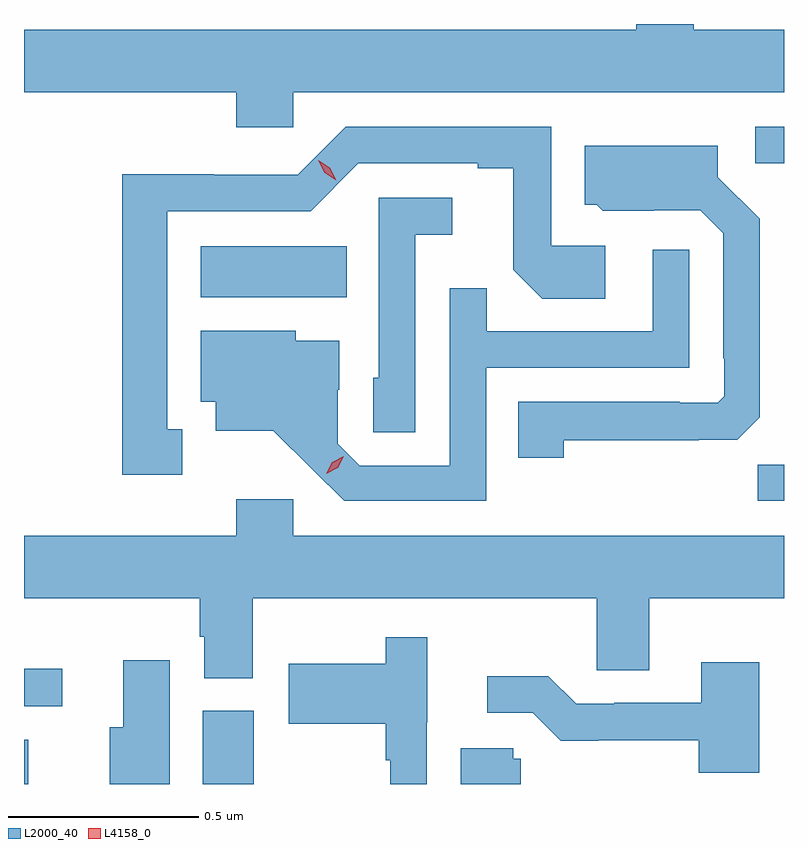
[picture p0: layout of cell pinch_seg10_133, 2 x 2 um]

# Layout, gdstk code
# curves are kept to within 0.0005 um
import gdstk
lib = gdstk.Library(unit=1e-6, precision=1e-09)
def R(c, l, rs):  # rectangles x0, y0, x1, y1
    for r in rs: c.add(gdstk.rectangle(r[:2], r[2:], *l))
def P(c, l, *ps):  # polygons
    for p in ps: c.add(gdstk.Polygon(p, *l))
L2000_40 = (2000, 40)
L4158_0 = (4158, 0)

pinch_seg10_133 = lib.new_cell('pinch_seg10_133')
R(pinch_seg10_133, L2000_40, [(711.887,1281.179,711.898,1281.295), (712.358,1281.179,712.492,1281.372), (711.887,1281.384,711.988,1281.482), (713.818,1281.924,713.887,1282.019), (712.352,1282.46,712.736,1282.594), (713.811,1282.812,713.887,1282.908)])
P(pinch_seg10_133, L2000_40, [(712.596,1283),(713.887,1283),(713.887,1283.164),(713.65,1283.164),(713.65,1283.179),(713.498,1283.179),(713.498,1283.164),(711.887,1283.164),(711.887,1283),(712.445,1283),(712.445,1282.907),(712.596,1282.907)],
  [(712.303,1282.113),(712.264,1282.113),(712.264,1282.686),(712.641,1282.686),(712.767,1282.812),(713.081,1282.812),(713.081,1282.8),(713.175,1282.8),(713.175,1282.532),(713.251,1282.456),(713.416,1282.456),(713.416,1282.596),(713.274,1282.596),(713.274,1282.908),(712.734,1282.908),(712.608,1282.782),(712.386,1282.782),(712.386,1282.784),(712.146,1282.784),(712.146,1281.993),(712.303,1281.993)],
  [(713.307,1282.084),(713.663,1282.084),(713.663,1282.085),(713.764,1282.085),(713.823,1282.144),(713.823,1282.666),(713.713,1282.776),(713.713,1282.858),(713.363,1282.858),(713.363,1282.704),(713.394,1282.704),(713.41,1282.688),(713.544,1282.688),(713.544,1282.689),(713.667,1282.689),(713.727,1282.629),(713.727,1282.3),(713.73,1282.3),(713.73,1282.2),(713.712,1282.182),(713.612,1282.182),(713.612,1282.185),(713.188,1282.185),(713.188,1282.038),(713.307,1282.038)],
  [(712.917,1282.625),(713.014,1282.625),(713.014,1282.722),(712.821,1282.722),(712.821,1282.248),(712.806,1282.248),(712.806,1282.105),(712.917,1282.105)],
  [(713.103,1282.275),(713.637,1282.275),(713.637,1282.585),(713.541,1282.585),(713.541,1282.371),(713.105,1282.371),(713.105,1282.484),(713.007,1282.484),(713.007,1282.017),(712.77,1282.017),(712.713,1282.074),(712.713,1282.216),(712.717,1282.216),(712.717,1282.345),(712.602,1282.345),(712.602,1282.372),(712.352,1282.372),(712.352,1282.185),(712.391,1282.185),(712.391,1282.109),(712.543,1282.109),(712.73,1281.924),(713.103,1281.924)],
  [(712.489,1281.668),(713.394,1281.668),(713.394,1281.478),(713.533,1281.478),(713.533,1281.668),(713.887,1281.668),(713.887,1281.832),(712.596,1281.832),(712.596,1281.928),(712.445,1281.928),(712.445,1281.832),(711.887,1281.832),(711.887,1281.668),(712.349,1281.668),(712.349,1281.567),(712.361,1281.567),(712.361,1281.457),(712.489,1281.457)],
  [(712.947,1281.342),(712.948,1281.342),(712.948,1281.565),(712.839,1281.565),(712.839,1281.496),(712.584,1281.496),(712.584,1281.338),(712.839,1281.338),(712.839,1281.242),(712.851,1281.242),(712.851,1281.179),(712.947,1281.179)],
  [(712.27,1281.505),(712.148,1281.505),(712.148,1281.328),(712.112,1281.328),(712.112,1281.179),(712.27,1281.179)],
  [(713.822,1281.499),(713.669,1281.499),(713.669,1281.393),(713.44,1281.393),(713.44,1281.39),(713.34,1281.39),(713.267,1281.463),(713.106,1281.463),(713.106,1281.366),(713.226,1281.366),(713.299,1281.293),(713.398,1281.293),(713.398,1281.294),(713.662,1281.294),(713.662,1281.209),(713.822,1281.209)],
  [(713.194,1281.246),(713.175,1281.246),(713.175,1281.273),(713.036,1281.273),(713.036,1281.179),(713.194,1281.179)])
P(pinch_seg10_133, L4158_0, [(712.682,1281.995),(712.682,1281.996),(712.698,1282.026),(712.729,1282.041),(712.729,1282.041),(712.729,1282.041),(712.712,1282.011),(712.682,1281.995)],
  [(712.709,1282.768),(712.678,1282.787),(712.661,1282.82),(712.661,1282.82),(712.661,1282.82),(712.692,1282.801),(712.709,1282.768),(712.709,1282.768)])

lib.write_gds('pinch_seg10_133.gds')
